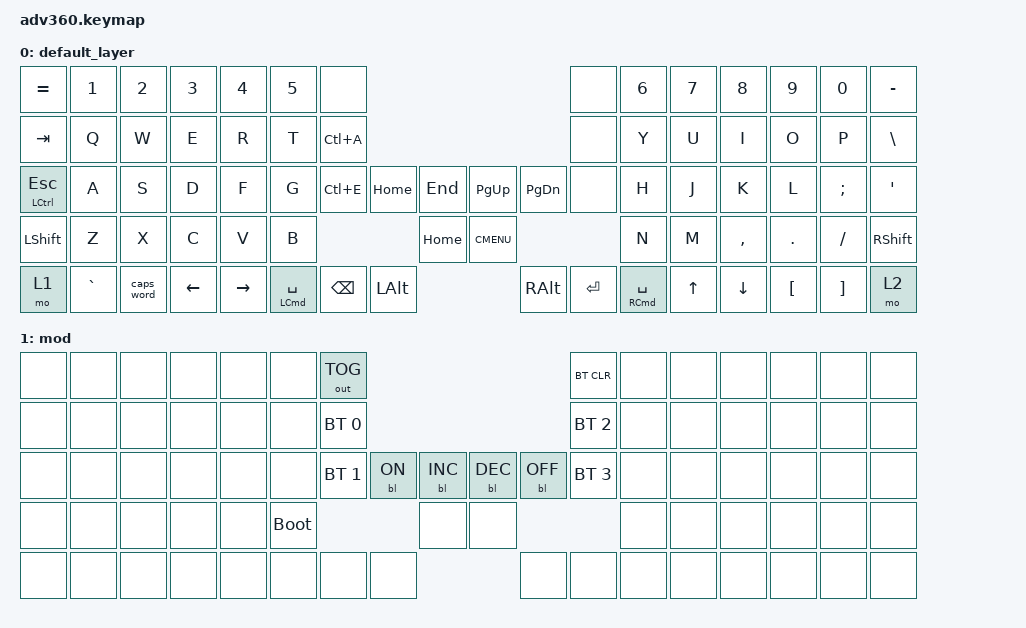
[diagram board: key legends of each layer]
/*
 * Copyright (c) 2020 The ZMK Contributors
 *
 * SPDX-License-Identifier: MIT
 */
/* THIS FILE WAS GENERATED!
 *
 * This file was generated automatically. You may or may not want to
 * edit it directly.
 */

#include <behaviors.dtsi>
#include <dt-bindings/zmk/backlight.h>
#include <dt-bindings/zmk/bt.h>
#include <dt-bindings/zmk/keys.h>
#include <dt-bindings/zmk/outputs.h>
#include <dt-bindings/zmk/rgb.h>
#include <dt-bindings/zmk/outputs.h>


/ {
    behaviors {
        #include "macros.dtsi"

      hm: homerow_mods {
          compatible = "zmk,behavior-hold-tap";
          label = "HOMEROW_MODS";
          #binding-cells = <2>;
          tapping-term-ms = <200>;
          quick_tap_ms = <175>;
          flavor = "tap-preferred";
          bindings = <&kp>, <&kp>;
      };
    };

  keymap {
    compatible = "zmk,keymap";

    default_layer {
      bindings = <
        &kp EQUAL       &kp N1      &kp N2      &kp N3      &kp N4      &kp N5      &none                                                                                           &none           &kp N6      &kp N7      &kp N8      &kp N9      &kp N0      &kp MINUS
        &kp TAB         &kp Q       &kp W       &kp E       &kp R       &kp T       &kp LC(A)                                                                                       &none           &kp Y       &kp U       &kp I       &kp O       &kp P       &kp BSLH
        &mt LCTRL ESC   &kp A       &kp S       &kp D       &kp F       &kp G       &kp LC(E)                       &kp HOME    &kp END     &kp PG_UP   &kp PG_DN                   &none           &kp H       &kp J       &kp K       &kp L       &kp SEMI    &kp SQT
        &kp LSHFT       &kp Z       &kp X       &kp C       &kp V       &kp B                                                   &kp HOME    &kp K_CMENU                                             &kp N       &kp M       &kp COMMA   &kp DOT     &kp FSLH    &kp RSHFT
        &mo 1           &kp GRAVE   &caps_word  &kp LEFT    &kp RIGHT                               &mt LCMD SPACE  &kp BSPC    &kp LALT    &kp RALT    &kp ENTER   &mt RCMD SPACE                              &kp UP      &kp DOWN    &kp LBKT    &kp RBKT    &mo 2
      >;
    };
    mod {
      bindings = <
        &none           &none       &none       &none       &none       &none       &out OUT_TOG                                                                                    &bt BT_CLR      &none       &none       &none       &none       &none       &none
        &none           &none       &none       &none       &none       &none       &bt BT_SEL 0                                                                                    &bt BT_SEL 2    &none       &none       &none       &none       &none       &none
        &none           &none       &none       &none       &none       &none       &bt BT_SEL 1                    &bl BL_ON   &bl BL_INC  &bl BL_DEC  &bl BL_OFF                  &bt BT_SEL 3    &none       &none       &none       &none       &none       &none
        &none           &none       &none       &none       &none       &bootloader                                             &none       &none                                                   &none       &none       &none       &none       &none       &none
        &none           &none       &none       &none       &none                                   &none           &none       &none       &none       &none       &none                                       &none       &none       &none       &none       &none
      >;
    };
  };
};
